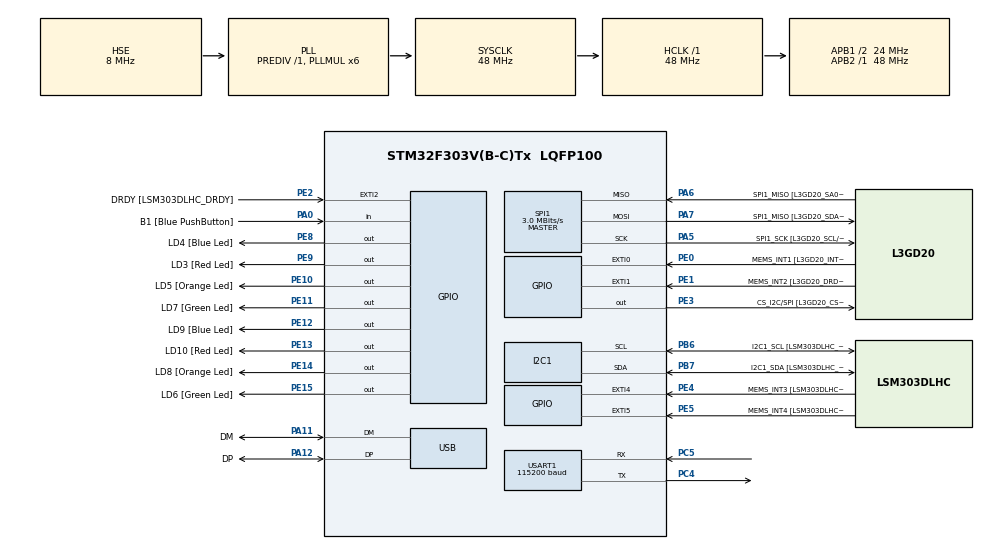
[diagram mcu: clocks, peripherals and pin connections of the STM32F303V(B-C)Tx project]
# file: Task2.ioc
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I2C1.Timing=0x00201D2B
I2C1.Timing-I2C=0x2000090E
Mcu.Family=STM32F3
Mcu.Name=STM32F303V(B-C)Tx
Mcu.Package=LQFP100
NVIC.PriorityGroup=NVIC_PRIORITYGROUP_0
NVIC.SPI1_IRQn=true\:0\:0\:false\:false\:true\:true\:true\:true
PA0.GPIO_Label=B1 [Blue PushButton]
PA0.Signal=GPIO_Input
PA11.GPIO_Label=DM
PA11.Mode=Device
PA11.Signal=USB_DM
PA12.GPIO_Label=DP
PA12.Mode=Device
PA12.Signal=USB_DP
PA13.GPIO_Label=SWDIO
PA13.Mode=Serial_Wire
PA13.Signal=SYS_JTMS-SWDIO
PA14.GPIO_Label=SWCLK
PA14.Mode=Serial_Wire
PA14.Signal=SYS_JTCK-SWCLK
PA5.GPIO_Label=SPI1_SCK [L3GD20_SCL/SPC]
PA5.Mode=Full_Duplex_Master
PA5.Signal=SPI1_SCK
PA6.GPIO_Label=SPI1_MISO [L3GD20_SA0/SDO]
PA6.Mode=Full_Duplex_Master
PA6.Signal=SPI1_MISO
PA7.GPIO_Label=SPI1_MISO [L3GD20_SDA/SDI/SDO]
PA7.Mode=Full_Duplex_Master
PA7.Signal=SPI1_MOSI
PB3.GPIO_Label=SWO
PB3.Signal=SYS_JTDO-TRACESWO
PB6.GPIO_Label=I2C1_SCL [LSM303DLHC_SCL]
PB6.GPIO_Pu=GPIO_PULLUP
PB6.Mode=I2C
PB6.Signal=I2C1_SCL
PB7.GPIO_Label=I2C1_SDA [LSM303DLHC_SDA]
PB7.GPIO_Pu=GPIO_PULLUP
PB7.Mode=I2C
PB7.Signal=I2C1_SDA
PC14-OSC32_IN.GPIO_Label=OSC32_IN
PC14-OSC32_IN.Signal=RCC_OSC32_IN
PC15-OSC32_OUT.GPIO_Label=OSC32_OUT
PC15-OSC32_OUT.Signal=RCC_OSC32_OUT
PC4.Mode=Asynchronous
PC4.Signal=USART1_TX
PC5.Mode=Asynchronous
PC5.Signal=USART1_RX
PE0.GPIO_Label=MEMS_INT1 [L3GD20_INT1]
PE0.GPIO_ModeDefaultEXTI=GPIO_MODE_EVT_RISING
PE0.Signal=GPXTI0
PE1.GPIO_Label=MEMS_INT2 [L3GD20_DRDY/INT2]
PE1.GPIO_ModeDefaultEXTI=GPIO_MODE_EVT_RISING
PE1.Signal=GPXTI1
PE10.GPIO_Label=LD5 [Orange Led]
PE10.Signal=GPIO_Output
PE11.GPIO_Label=LD7 [Green Led]
PE11.Signal=GPIO_Output
PE12.GPIO_Label=LD9 [Blue Led]
PE12.Signal=GPIO_Output
PE13.GPIO_Label=LD10 [Red Led]
PE13.Signal=GPIO_Output
PE14.GPIO_Label=LD8 [Orange Led]
PE14.Signal=GPIO_Output
PE15.GPIO_Label=LD6 [Green Led]
PE15.Signal=GPIO_Output
PE2.GPIO_Label=DRDY [LSM303DLHC_DRDY]
PE2.GPIO_ModeDefaultEXTI=GPIO_MODE_EVT_RISING
PE2.Signal=GPXTI2
PE3.GPIO_Label=CS_I2C/SPI [L3GD20_CS_I2C/SPI]
PE3.Signal=GPIO_Output
PE4.GPIO_Label=MEMS_INT3 [LSM303DLHC_INT1]
PE4.GPIO_ModeDefaultEXTI=GPIO_MODE_EVT_RISING
PE4.Signal=GPXTI4
PE5.GPIO_Label=MEMS_INT4 [LSM303DLHC_INT2]
PE5.GPIO_ModeDefaultEXTI=GPIO_MODE_EVT_RISING
PE5.Signal=GPXTI5
PE8.GPIO_Label=LD4 [Blue Led]
PE8.Signal=GPIO_Output
PE9.GPIO_Label=LD3 [Red Led]
PE9.Signal=GPIO_Output
PF0-OSC_IN.GPIO_Label=OSC_IN
PF0-OSC_IN.Mode=HSE-External-Clock-Source
PF0-OSC_IN.Signal=RCC_OSC_IN
PF1-OSC_OUT.GPIO_Label=OSC_OUT
PF1-OSC_OUT.Signal=RCC_OSC_OUT
ProjectManager.HeapSize=0x200
ProjectManager.StackSize=0x400
ProjectManager.TargetToolchain=CMake
RCC.AHBFreq_Value=48000000
RCC.APB1CLKDivider=RCC_HCLK_DIV2
RCC.APB1Freq_Value=24000000
RCC.APB1TimFreq_Value=48000000
RCC.APB2Freq_Value=48000000
RCC.APB2TimFreq_Value=48000000
RCC.CortexFreq_Value=48000000
RCC.HCLKFreq_Value=48000000
RCC.HSE_VALUE=8000000
RCC.HSI_VALUE=8000000
RCC.LSE_VALUE=32768
RCC.PLLMUL=RCC_PLL_MUL6
RCC.SYSCLKFreq_VALUE=48000000
RCC.SYSCLKSourceVirtual=RCC_SYSCLKSOURCE_PLLCLK
RCC.USBFreq_Value=48000000
SPI1.BaudRatePrescaler=SPI_BAUDRATEPRESCALER_16
SPI1.BaudRatePrescaler-Full_Duplex_Master=SPI_BAUDRATEPRESCALER_2
SPI1.CLKPhase=SPI_PHASE_2EDGE
SPI1.CLKPolarity=SPI_POLARITY_HIGH
SPI1.CalculateBaudRate=3.0 MBits/s
SPI1.CalculateBaudRate-Full_Duplex_Master=24.0 MBits/s
SPI1.Direction=SPI_DIRECTION_2LINES
SPI1.Mode=SPI_MODE_MASTER
SPI1.Mode-Full_Duplex_Master=SPI_MODE_MASTER
SPI1.VirtualType=VM_MASTER
USART1.BaudRate=115200
USART1.VirtualMode-Asynchronous=VM_ASYNC
board=STM32F3DISCOVERY

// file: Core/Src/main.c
/* USER CODE BEGIN Header */
/**
  ******************************************************************************
  * @file           : main.c
  * @brief          : Main program body
  ******************************************************************************
  * @attention
  *
  * Copyright (c) 2026 STMicroelectronics.
  * All rights reserved.
  *
  * This software is licensed under terms that can be found in the LICENSE file
  * in the root directory of this software component.
  * If no LICENSE file comes with this software, it is provided AS-IS.
  *
  ******************************************************************************
  */
/* USER CODE END Header */
#include "main.h"

/* USER CODE BEGIN Includes */
#include <stdint.h>
#include <sys/types.h>
#include <stdio.h>
/* USER CODE END Includes */

I2C_HandleTypeDef hi2c1;

SPI_HandleTypeDef hspi1;

UART_HandleTypeDef huart1;

PCD_HandleTypeDef hpcd_USB_FS;

void SystemClock_Config(void);
static void MX_GPIO_Init(void);
static void MX_I2C1_Init(void);
static void MX_SPI1_Init(void);
static void MX_USART1_UART_Init(void);
static void MX_USB_PCD_Init(void);
/* USER CODE BEGIN PFP */
void gyro_init(void);
/* USER CODE END PFP */

/* USER CODE BEGIN 0 */
float RAD_TO_DEG(float x) {
  return (x * 57.2958f);
}

// Gyroscope initialization
void gyro_init(void) {
  uint8_t tx[2] = { 0x20, 0b00001111 };
  HAL_GPIO_WritePin(GPIOE, GPIO_PIN_3, GPIO_PIN_RESET);
  HAL_SPI_Transmit(&hspi1, tx, 2, HAL_MAX_DELAY);
  HAL_GPIO_WritePin(GPIOE, GPIO_PIN_3, GPIO_PIN_SET);
}

void gyro_set_ctrl_reg4(void) {
  uint8_t tx[2] = { 0x23, 0b00000000 };
  HAL_GPIO_WritePin(GPIOE, GPIO_PIN_3, GPIO_PIN_RESET);
  HAL_SPI_Transmit(&hspi1, tx, 2, HAL_MAX_DELAY);
  HAL_GPIO_WritePin(GPIOE, GPIO_PIN_3, GPIO_PIN_SET);
}

// Gyroscope SPI reader function
void reader(uint8_t tx, uint8_t *rx) {
    HAL_GPIO_WritePin(GPIOE, GPIO_PIN_3, GPIO_PIN_RESET);
    HAL_SPI_Transmit(&hspi1, &tx, 1, HAL_MAX_DELAY);
    HAL_SPI_Receive(&hspi1, rx, 1, HAL_MAX_DELAY);
    HAL_GPIO_WritePin(GPIOE, GPIO_PIN_3, GPIO_PIN_SET);
}

// 2 8-bit values to 16-bit w read bit
int16_t read_16bit(uint8_t H, uint8_t L) {
  return (int16_t)((H << 8) | L);
}

void Init_LSM() {

  uint8_t a = 0x67;
  uint8_t b = 0x00;
  HAL_I2C_Mem_Write(&hi2c1, 0x32, 0x20, 1, &a, 1, HAL_MAX_DELAY);
  HAL_I2C_Mem_Write(&hi2c1, 0x32, 0x23, 1, &b, 1, HAL_MAX_DELAY);

}

void Read_LSM() {

  uint8_t high[3];
  uint8_t low[3];

  HAL_I2C_Mem_Read(&hi2c1, 0x33, 0x29, 1, &high[0], 1, HAL_MAX_DELAY);
  HAL_I2C_Mem_Read(&hi2c1, 0x33, 0x28, 1, &low[0], 1, HAL_MAX_DELAY);
  HAL_I2C_Mem_Read(&hi2c1, 0x33, 0x2B, 1, &high[1], 1, HAL_MAX_DELAY);
  HAL_I2C_Mem_Read(&hi2c1, 0x33, 0x2A, 1, &low[1], 1, HAL_MAX_DELAY);
  HAL_I2C_Mem_Read(&hi2c1, 0x33, 0x2D, 1, &high[2], 1, HAL_MAX_DELAY);
  HAL_I2C_Mem_Read(&hi2c1, 0x33, 0x2C, 1, &low[2], 1, HAL_MAX_DELAY);

  raw[0] = (int16_t)(high[0] << 8) | low[0];
  raw[1] = (int16_t)(high[1] << 8) | low[1];
  raw[2] = (int16_t)(high[2] << 8) | low[2];

  new[0] = raw[0] * 3.9f/1000.0f;
  new[1] = raw[1] * 3.9f/1000.0f;
  new[2] = raw[2] * 3.9f/1000.0f;
  new[0] -= offset[0];
  new[1] -= offset[1];
  new[2] -= offset[2];
}

void Print_LSM() {

  char message[50];

  int len = snprintf(msg, sizeof(msg), "%.2f,%.2f,%.2f\r\n", new[0], new[1], new[2]);

  HAL_UART_Transmit(&huart1, (uint8_t *)msg, len, HAL_MAX_DELAY);
}

void Offset_LSM() {
  uint8_t high[3], low[3];
  float temp_new[3] = {0, 0, 0};
  for (int i = 0; i < 20; i++) {
    HAL_I2C_Mem_Read(&hi2c1, 0x33, 0x29, 1, &high[0], 1, HAL_MAX_DELAY);
    HAL_I2C_Mem_Read(&hi2c1, 0x33, 0x28, 1, &low[0], 1, HAL_MAX_DELAY);
    HAL_I2C_Mem_Read(&hi2c1, 0x33, 0x2B, 1, &high[1], 1, HAL_MAX_DELAY);
    HAL_I2C_Mem_Read(&hi2c1, 0x33, 0x2A, 1, &low[1], 1, HAL_MAX_DELAY);
    HAL_I2C_Mem_Read(&hi2c1, 0x33, 0x2D, 1, &high[2], 1, HAL_MAX_DELAY);
    HAL_I2C_Mem_Read(&hi2c1, 0x33, 0x2C, 1, &low[2], 1, HAL_MAX_DELAY);
    temp_new[0] += ((int16_t)(high[0] << 8) | low[0]) * 3.9f/1000.0f;
    temp_new[1] += ((int16_t)(high[1] << 8) | low[1]) * 3.9f/1000.0f;
    temp_new[2] += ((int16_t)(high[2] << 8) | low[2]) * 3.9f/1000.0f;
    HAL_Delay(10);
  }
  offset[0] = temp_new[0] / 20.0f;
  offset[1] = temp_new[1] / 20.0f;
  offset[2] = temp_new[2] / 20.0f;
}
/* USER CODE END 0 */

int main(void)
{

  /* MCU Configuration--------------------------------------------------------*/

  /* Reset of all peripherals, Initializes the Flash interface and the Systick. */
  HAL_Init();

  /* Configure the system clock */
  SystemClock_Config();

  /* Initialize all configured peripherals */
  MX_GPIO_Init();
  MX_I2C1_Init();
  MX_SPI1_Init();
  MX_USART1_UART_Init();
  MX_USB_PCD_Init();
  /* USER CODE BEGIN 2 */
  Init_LSM();
  Offset_LSM();
  gyro_init();
  gyro_set_ctrl_reg4();
  /* USER CODE END 2 */

  /* Infinite loop */
  while (1)
  {
    // Read accelerometer
    Read_LSM();
    Print_LSM();

    // Read gyroscope
    uint8_t xH, xL, yH, yL, zH, zL;
    reader(0x80 | 0x29, &xH);
    reader(0x80 | 0x28, &xL);
    reader(0x80 | 0x2B, &yH);
    reader(0x80 | 0x2A, &yL);
    reader(0x80 | 0x2D, &zH);
    reader(0x80 | 0x2C, &zL);

    int16_t x = read_16bit(xH, xL);
    int16_t y = read_16bit(yH, yL);
    int16_t z = read_16bit(zH, zL);

    float x_dps = x * 0.00875f;
    float y_dps = y * 0.00875f;
    float z_dps = z * 0.00875f;

    char buffer[100];

    int n = snprintf(buffer, sizeof(buffer), "%.2f,%.2f,%.2f\r\n", x_dps, y_dps, z_dps);

    if (n > 0) {
      HAL_UART_Transmit(&huart1, (uint8_t*)buffer, n, HAL_MAX_DELAY);
    }

    HAL_Delay(100);
  }
}

void SystemClock_Config(void)
{
  RCC_OscInitTypeDef RCC_OscInitStruct = {0};
  RCC_ClkInitTypeDef RCC_ClkInitStruct = {0};
  RCC_PeriphCLKInitTypeDef PeriphClkInit = {0};

  /** Initializes the RCC Oscillators according to the specified parameters
  * in the RCC_OscInitTypeDef structure.
  */
  RCC_OscInitStruct.OscillatorType = RCC_OSCILLATORTYPE_HSI|RCC_OSCILLATORTYPE_HSE;
  RCC_OscInitStruct.HSEState = RCC_HSE_BYPASS;
  RCC_OscInitStruct.HSEPredivValue = RCC_HSE_PREDIV_DIV1;
  RCC_OscInitStruct.HSIState = RCC_HSI_ON;
  RCC_OscInitStruct.HSICalibrationValue = RCC_HSICALIBRATION_DEFAULT;
  RCC_OscInitStruct.PLL.PLLState = RCC_PLL_ON;
  RCC_OscInitStruct.PLL.PLLSource = RCC_PLLSOURCE_HSE;
  RCC_OscInitStruct.PLL.PLLMUL = RCC_PLL_MUL6;
  if (HAL_RCC_OscConfig(&RCC_OscInitStruct) != HAL_OK)
  {
    Error_Handler();
  }

  /** Initializes the CPU, AHB and APB buses clocks
  */
  RCC_ClkInitStruct.ClockType = RCC_CLOCKTYPE_HCLK|RCC_CLOCKTYPE_SYSCLK
                              |RCC_CLOCKTYPE_PCLK1|RCC_CLOCKTYPE_PCLK2;
  RCC_ClkInitStruct.SYSCLKSource = RCC_SYSCLKSOURCE_PLLCLK;
  RCC_ClkInitStruct.AHBCLKDivider = RCC_SYSCLK_DIV1;
  RCC_ClkInitStruct.APB1CLKDivider = RCC_HCLK_DIV2;
  RCC_ClkInitStruct.APB2CLKDivider = RCC_HCLK_DIV1;

  if (HAL_RCC_ClockConfig(&RCC_ClkInitStruct, FLASH_LATENCY_1) != HAL_OK)
  {
    Error_Handler();
  }
  PeriphClkInit.PeriphClockSelection = RCC_PERIPHCLK_USB|RCC_PERIPHCLK_USART1
                              |RCC_PERIPHCLK_I2C1;
  PeriphClkInit.Usart1ClockSelection = RCC_USART1CLKSOURCE_PCLK2;
  PeriphClkInit.I2c1ClockSelection = RCC_I2C1CLKSOURCE_HSI;
  PeriphClkInit.USBClockSelection = RCC_USBCLKSOURCE_PLL;
  if (HAL_RCCEx_PeriphCLKConfig(&PeriphClkInit) != HAL_OK)
  {
    Error_Handler();
  }
}

static void MX_I2C1_Init(void)
{

  hi2c1.Instance = I2C1;
  hi2c1.Init.Timing = 0x00201D2B;
  hi2c1.Init.OwnAddress1 = 0;
  hi2c1.Init.AddressingMode = I2C_ADDRESSINGMODE_7BIT;
  hi2c1.Init.DualAddressMode = I2C_DUALADDRESS_DISABLE;
  hi2c1.Init.OwnAddress2 = 0;
  hi2c1.Init.OwnAddress2Masks = I2C_OA2_NOMASK;
  hi2c1.Init.GeneralCallMode = I2C_GENERALCALL_DISABLE;
  hi2c1.Init.NoStretchMode = I2C_NOSTRETCH_DISABLE;
  if (HAL_I2C_Init(&hi2c1) != HAL_OK)
  {
    Error_Handler();
  }

  /** Configure Analogue filter
  */
  if (HAL_I2CEx_ConfigAnalogFilter(&hi2c1, I2C_ANALOGFILTER_ENABLE) != HAL_OK)
  {
    Error_Handler();
  }

  /** Configure Digital filter
  */
  if (HAL_I2CEx_ConfigDigitalFilter(&hi2c1, 0) != HAL_OK)
  {
    Error_Handler();
  }

}

static void MX_SPI1_Init(void)
{

  /* SPI1 parameter configuration*/
  hspi1.Instance = SPI1;
  hspi1.Init.Mode = SPI_MODE_MASTER;
  hspi1.Init.Direction = SPI_DIRECTION_2LINES;
  hspi1.Init.DataSize = SPI_DATASIZE_4BIT;
  hspi1.Init.CLKPolarity = SPI_POLARITY_HIGH;
  hspi1.Init.CLKPhase = SPI_PHASE_2EDGE;
  hspi1.Init.NSS = SPI_NSS_SOFT;
  hspi1.Init.BaudRatePrescaler = SPI_BAUDRATEPRESCALER_16;
  hspi1.Init.FirstBit = SPI_FIRSTBIT_MSB;
  hspi1.Init.TIMode = SPI_TIMODE_DISABLE;
  hspi1.Init.CRCCalculation = SPI_CRCCALCULATION_DISABLE;
  hspi1.Init.CRCPolynomial = 7;
  hspi1.Init.CRCLength = SPI_CRC_LENGTH_DATASIZE;
  hspi1.Init.NSSPMode = SPI_NSS_PULSE_DISABLE;
  if (HAL_SPI_Init(&hspi1) != HAL_OK)
  {
    Error_Handler();
  }

}

static void MX_USART1_UART_Init(void)
{

  huart1.Instance = USART1;
  huart1.Init.BaudRate = 115200;
  huart1.Init.WordLength = UART_WORDLENGTH_8B;
  huart1.Init.StopBits = UART_STOPBITS_1;
  huart1.Init.Parity = UART_PARITY_NONE;
  huart1.Init.Mode = UART_MODE_TX_RX;
  huart1.Init.HwFlowCtl = UART_HWCONTROL_NONE;
  huart1.Init.OverSampling = UART_OVERSAMPLING_16;
  huart1.Init.OneBitSampling = UART_ONE_BIT_SAMPLE_DISABLE;
  huart1.AdvancedInit.AdvFeatureInit = UART_ADVFEATURE_NO_INIT;
  if (HAL_UART_Init(&huart1) != HAL_OK)
  {
    Error_Handler();
  }

}

static void MX_USB_PCD_Init(void)
{

  hpcd_USB_FS.Instance = USB;
  hpcd_USB_FS.Init.dev_endpoints = 8;
  hpcd_USB_FS.Init.speed = PCD_SPEED_FULL;
  hpcd_USB_FS.Init.phy_itface = PCD_PHY_EMBEDDED;
  hpcd_USB_FS.Init.low_power_enable = DISABLE;
  hpcd_USB_FS.Init.battery_charging_enable = DISABLE;
  if (HAL_PCD_Init(&hpcd_USB_FS) != HAL_OK)
  {
    Error_Handler();
  }

}

static void MX_GPIO_Init(void)
{
  GPIO_InitTypeDef GPIO_InitStruct = {0};

  /* GPIO Ports Clock Enable */
  __HAL_RCC_GPIOE_CLK_ENABLE();
  __HAL_RCC_GPIOC_CLK_ENABLE();
  __HAL_RCC_GPIOF_CLK_ENABLE();
  __HAL_RCC_GPIOA_CLK_ENABLE();
  __HAL_RCC_GPIOB_CLK_ENABLE();

  /*Configure GPIO pin Output Level */
  HAL_GPIO_WritePin(GPIOE, CS_I2C_SPI_Pin|LD4_Pin|LD3_Pin|LD5_Pin
                          |LD7_Pin|LD9_Pin|LD10_Pin|LD8_Pin
                          |LD6_Pin, GPIO_PIN_RESET);

  /*Configure GPIO pins : DRDY_Pin MEMS_INT3_Pin MEMS_INT4_Pin MEMS_INT1_Pin
                           MEMS_INT2_Pin */
  GPIO_InitStruct.Pin = DRDY_Pin|MEMS_INT3_Pin|MEMS_INT4_Pin|MEMS_INT1_Pin
                          |MEMS_INT2_Pin;
  GPIO_InitStruct.Mode = GPIO_MODE_EVT_RISING;
  GPIO_InitStruct.Pull = GPIO_NOPULL;
  HAL_GPIO_Init(GPIOE, &GPIO_InitStruct);

  /*Configure GPIO pins : CS_I2C_SPI_Pin LD4_Pin LD3_Pin LD5_Pin
                           LD7_Pin LD9_Pin LD10_Pin LD8_Pin
                           LD6_Pin */
  GPIO_InitStruct.Pin = CS_I2C_SPI_Pin|LD4_Pin|LD3_Pin|LD5_Pin
                          |LD7_Pin|LD9_Pin|LD10_Pin|LD8_Pin
                          |LD6_Pin;
  GPIO_InitStruct.Mode = GPIO_MODE_OUTPUT_PP;
  GPIO_InitStruct.Pull = GPIO_NOPULL;
  GPIO_InitStruct.Speed = GPIO_SPEED_FREQ_LOW;
  HAL_GPIO_Init(GPIOE, &GPIO_InitStruct);

  /*Configure GPIO pin : B1_Pin */
  GPIO_InitStruct.Pin = B1_Pin;
  GPIO_InitStruct.Mode = GPIO_MODE_INPUT;
  GPIO_InitStruct.Pull = GPIO_NOPULL;
  HAL_GPIO_Init(B1_GPIO_Port, &GPIO_InitStruct);

}

void Error_Handler(void)
{
  __disable_irq();
  while (1)
  {
  }
}
